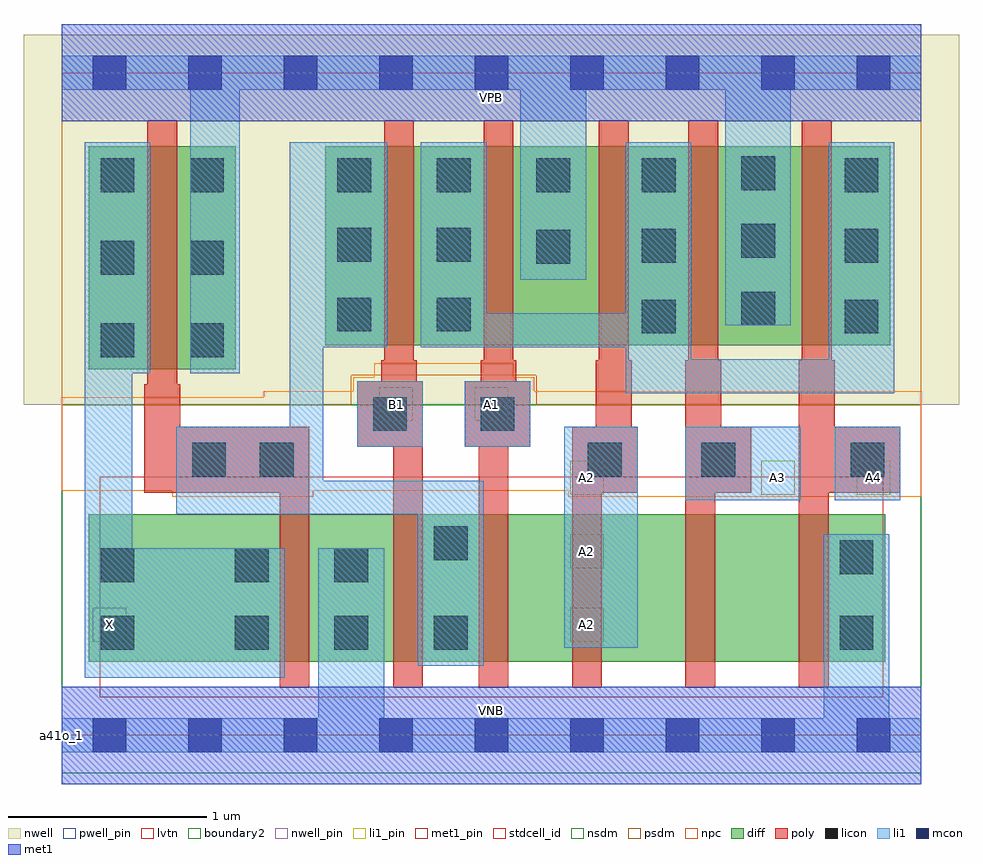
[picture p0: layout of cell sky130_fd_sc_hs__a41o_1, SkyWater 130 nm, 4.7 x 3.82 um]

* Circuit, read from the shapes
.subckt sky130_fd_sc_hs__a41o_1 A1 A2 A3 A4 B1 VGND VNB VPB VPWR X
XM1 VGND n1 X VNB sky130_fd_pr__nfet_01v8_lvt w=0.74 l=0.15
XM2 n1 B1 VGND VNB sky130_fd_pr__nfet_01v8_lvt w=0.74 l=0.15
XM3 n2 A1 n1 VNB sky130_fd_pr__nfet_01v8_lvt w=0.74 l=0.15
XM4 n3 A2 n2 VNB sky130_fd_pr__nfet_01v8_lvt w=0.74 l=0.15
XM5 n4 A3 n3 VNB sky130_fd_pr__nfet_01v8_lvt w=0.74 l=0.15
XM6 VGND A4 n4 VNB sky130_fd_pr__nfet_01v8_lvt w=0.74 l=0.15
XM7 VPWR n1 X VPB sky130_fd_pr__pfet_01v8 w=1.12 l=0.15
XM8 n5 B1 n1 VPB sky130_fd_pr__pfet_01v8 w=1 l=0.15
XM9 VPWR A1 n5 VPB sky130_fd_pr__pfet_01v8 w=1 l=0.15
XM10 n5 A2 VPWR VPB sky130_fd_pr__pfet_01v8 w=1 l=0.15
XM11 VPWR A3 n5 VPB sky130_fd_pr__pfet_01v8 w=1 l=0.15
XM12 n5 A4 VPWR VPB sky130_fd_pr__pfet_01v8 w=1 l=0.15
.ends

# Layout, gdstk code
import gdstk
lib = gdstk.Library(unit=1e-6, precision=1e-09)
def R(c, l, rs):  # rectangles x0, y0, x1, y1
    for r in rs: c.add(gdstk.rectangle(r[:2], r[2:], *l))
def A(c, l, x, y, w, h, nx, ny, dx, dy):  # array of equal rectangles
    R(c, l, [(x+i*dx, y+j*dy, x+i*dx+w, y+j*dy+h) for i in range(nx) for j in range(ny)])
def P(c, l, *ps):  # polygons
    for p in ps: c.add(gdstk.Polygon(p, *l))
nwell_pin = (64, 16)
nwell = (64, 20)
diff = (65, 20)
poly = (66, 20)
licon = (66, 44)
li1_pin = (67, 16)
li1 = (67, 20)
mcon = (67, 44)
met1_pin = (68, 16)
met1 = (68, 20)
stdcell_id = (81, 4)
nsdm = (93, 44)
psdm = (94, 20)
npc = (95, 20)
pwell_pin = (122, 16)
lvtn = (125, 44)
boundary2 = (236, 0)

sky130_fd_sc_hs__a41o_1 = lib.new_cell('sky130_fd_sc_hs__a41o_1')
R(sky130_fd_sc_hs__a41o_1, nwell_pin, [(0,3.085,4.32,3.33)])
R(sky130_fd_sc_hs__a41o_1, nwell, [(-0.19,1.66,4.51,3.52)])
R(sky130_fd_sc_hs__a41o_1, diff, [(0.135,0.37,4.14,1.11), (0.135,1.84,0.875,2.96), (1.325,1.96,4.165,2.96)])
P(sky130_fd_sc_hs__a41o_1, poly, [(4.215,1.55),(3.885,1.55),(3.885,1.885),(3.87,1.885),(3.87,3.09),(3.72,3.09),(3.72,1.885),(3.705,1.885),(3.705,0.24),(3.855,0.24),(3.855,1.22),(4.215,1.22)],
  [(3.465,1.55),(3.315,1.55),(3.315,1.885),(3.3,1.885),(3.3,3.09),(3.15,3.09),(3.15,1.885),(3.135,1.885),(3.135,0.24),(3.285,0.24),(3.285,1.22),(3.465,1.22)],
  [(2.895,1.55),(2.865,1.55),(2.865,1.885),(2.85,1.885),(2.85,3.09),(2.7,3.09),(2.7,1.885),(2.685,1.885),(2.685,1.55),(2.565,1.55),(2.565,0.24),(2.715,0.24),(2.715,1.22),(2.895,1.22)],
  [(2.355,1.78),(2.285,1.78),(2.285,1.885),(2.27,1.885),(2.27,3.09),(2.12,3.09),(2.12,1.885),(2.105,1.885),(2.105,1.78),(2.025,1.78),(2.025,1.45),(2.095,1.45),(2.095,0.24),(2.245,0.24),(2.245,1.45),(2.355,1.45)],
  [(1.815,1.78),(1.785,1.78),(1.785,1.885),(1.77,1.885),(1.77,3.09),(1.62,3.09),(1.62,1.885),(1.605,1.885),(1.605,1.78),(1.485,1.78),(1.485,1.45),(1.665,1.45),(1.665,0.24),(1.815,0.24)],
  [(1.245,1.55),(0.595,1.55),(0.595,1.765),(0.58,1.765),(0.58,3.09),(0.43,3.09),(0.43,1.765),(0.415,1.765),(0.415,1.22),(1.095,1.22),(1.095,0.24),(1.245,0.24)])
A(sky130_fd_sc_hs__a41o_1, licon, 0.87, 0.43, 0.17, 0.17, 3, 1, 0.5, 0)
A(sky130_fd_sc_hs__a41o_1, licon, 0.195, 1.9, 0.17, 0.17, 1, 3, 0, 0.415)
A(sky130_fd_sc_hs__a41o_1, licon, 0.645, 1.9, 0.17, 0.17, 1, 3, 0, 0.415)
A(sky130_fd_sc_hs__a41o_1, licon, 2.915, 2.02, 0.17, 0.17, 1, 3, 0, 0.355)
A(sky130_fd_sc_hs__a41o_1, licon, 3.935, 2.02, 0.17, 0.17, 1, 3, 0, 0.355)
A(sky130_fd_sc_hs__a41o_1, licon, 3.415, 2.06, 0.17, 0.17, 1, 3, 0, 0.34)
A(sky130_fd_sc_hs__a41o_1, licon, 1.385, 2.73, 0.17, 0.17, 3, 1, 0.5, 0)
R(sky130_fd_sc_hs__a41o_1, licon, [(0.195,0.43,0.365,0.6), (3.91,0.43,4.08,0.6), (0.195,0.77,0.365,0.94), (0.87,0.77,1.04,0.94), (1.37,0.77,1.54,0.94), (3.91,0.81,4.08,0.98), (1.87,0.88,2.04,1.05), (0.655,1.3,0.825,1.47), (0.995,1.3,1.165,1.47), (2.645,1.3,2.815,1.47), (3.215,1.3,3.385,1.47), (3.965,1.3,4.135,1.47), (1.565,1.53,1.735,1.7), (2.105,1.53,2.275,1.7), (1.385,2.03,1.555,2.2), (1.885,2.03,2.055,2.2), (2.385,2.37,2.555,2.54), (1.385,2.38,1.555,2.55), (1.885,2.38,2.055,2.55)])
A(sky130_fd_sc_hs__a41o_1, li1_pin, 2.555, 0.47, 0.17, 0.17, 1, 3, 0, 0.37)
R(sky130_fd_sc_hs__a41o_1, li1_pin, [(0.155,0.47,0.325,0.64), (3.515,1.21,3.685,1.38), (3.995,1.21,4.165,1.38), (1.595,1.58,1.765,1.75), (2.075,1.58,2.245,1.75)])
R(sky130_fd_sc_hs__a41o_1, li1, [(2.525,0.44,2.895,1.55), (3.135,1.18,3.715,1.55), (3.885,1.18,4.215,1.55), (1.485,1.45,1.815,1.78), (2.025,1.45,2.355,1.78)])
P(sky130_fd_sc_hs__a41o_1, li1, [(0,-0.085),(0,0.085),(1.29,0.085),(1.29,0.94),(1.62,0.94),(1.62,0.085),(3.83,0.085),(3.83,1.01),(4.16,1.01),(4.16,0.085),(4.32,0.085),(4.32,-0.085)],
  [(0,3.245),(0,3.415),(4.32,3.415),(4.32,3.245),(3.665,3.245),(3.665,2.06),(3.335,2.06),(3.335,3.245),(2.635,3.245),(2.635,2.29),(2.305,2.29),(2.305,3.245),(0.895,3.245),(0.895,1.82),(0.645,1.82),(0.645,3.245)],
  [(0.115,0.29),(0.115,2.98),(0.445,2.98),(0.445,1.82),(0.355,1.82),(0.355,0.94),(1.12,0.94),(1.12,0.29)],
  [(3.165,1.89),(3.855,1.89),(3.855,2.98),(4.185,2.98),(4.185,1.72),(2.835,1.72),(2.835,1.95),(1.805,1.95),(1.805,2.98),(2.135,2.98),(2.135,2.12),(2.835,2.12),(2.835,2.98),(3.165,2.98)],
  [(1.315,1.28),(2.12,1.28),(2.12,0.35),(1.79,0.35),(1.79,1.11),(0.575,1.11),(0.575,1.55),(1.145,1.55),(1.145,2.98),(1.635,2.98),(1.635,1.95),(1.315,1.95)])
A(sky130_fd_sc_hs__a41o_1, mcon, 0.155, -0.085, 0.17, 0.17, 9, 2, 0.48, 3.33)
R(sky130_fd_sc_hs__a41o_1, met1_pin, [(0,0,4.32,0.245), (0,3.085,4.32,3.33)])
R(sky130_fd_sc_hs__a41o_1, met1, [(0,-0.245,4.32,0.245), (0,3.085,4.32,3.575)])
R(sky130_fd_sc_hs__a41o_1, stdcell_id, [(0,0,4.32,3.33)])
R(sky130_fd_sc_hs__a41o_1, nsdm, [(0,-0.19,4.32,1.66)])
P(sky130_fd_sc_hs__a41o_1, psdm, [(4.32,3.52),(0,3.52),(0,1.66),(1.455,1.66),(1.455,1.81),(2.385,1.81),(2.385,1.66),(4.32,1.66)])
P(sky130_fd_sc_hs__a41o_1, npc, [(4.32,1.73),(2.375,1.73),(2.375,1.8),(2.27,1.8),(2.27,1.87),(1.57,1.87),(1.57,1.8),(1.465,1.8),(1.465,1.73),(1.015,1.73),(1.015,1.7),(0,1.7),(0,1.23),(0.555,1.23),(0.555,1.2),(1.265,1.2),(1.265,1.23),(2.545,1.23),(2.545,1.2),(4.32,1.2)])
R(sky130_fd_sc_hs__a41o_1, pwell_pin, [(0,0,4.32,0.245)])
R(sky130_fd_sc_hs__a41o_1, lvtn, [(0.19,0.19,4.13,1.3)])
R(sky130_fd_sc_hs__a41o_1, boundary2, [(0,0,4.32,3.33)])
sky130_fd_sc_hs__a41o_1.add(gdstk.Label('a41o_1', (0,0), layer=83, texttype=44))
sky130_fd_sc_hs__a41o_1.add(gdstk.Label('VNB', (2.16,0.123), layer=64, texttype=59))
sky130_fd_sc_hs__a41o_1.add(gdstk.Label('VPB', (2.16,3.208), layer=64, texttype=5))
sky130_fd_sc_hs__a41o_1.add(gdstk.Label('VPWR', (2.16,3.208), layer=68, texttype=5))
sky130_fd_sc_hs__a41o_1.add(gdstk.Label('VGND', (2.16,0.123), layer=68, texttype=5))
sky130_fd_sc_hs__a41o_1.add(gdstk.Label('A4', (4.08,1.295), layer=67, texttype=5))
sky130_fd_sc_hs__a41o_1.add(gdstk.Label('A1', (2.16,1.665), layer=67, texttype=5))
sky130_fd_sc_hs__a41o_1.add(gdstk.Label('A2', (2.64,0.555), layer=67, texttype=5))
sky130_fd_sc_hs__a41o_1.add(gdstk.Label('A2', (2.64,0.925), layer=67, texttype=5))
sky130_fd_sc_hs__a41o_1.add(gdstk.Label('A2', (2.64,1.295), layer=67, texttype=5))
sky130_fd_sc_hs__a41o_1.add(gdstk.Label('A3', (3.6,1.295), layer=67, texttype=5))
sky130_fd_sc_hs__a41o_1.add(gdstk.Label('B1', (1.68,1.665), layer=67, texttype=5))
sky130_fd_sc_hs__a41o_1.add(gdstk.Label('X', (0.24,0.555), layer=67, texttype=5))

lib.write_gds('sky130_fd_sc_hs__a41o_1.gds')
